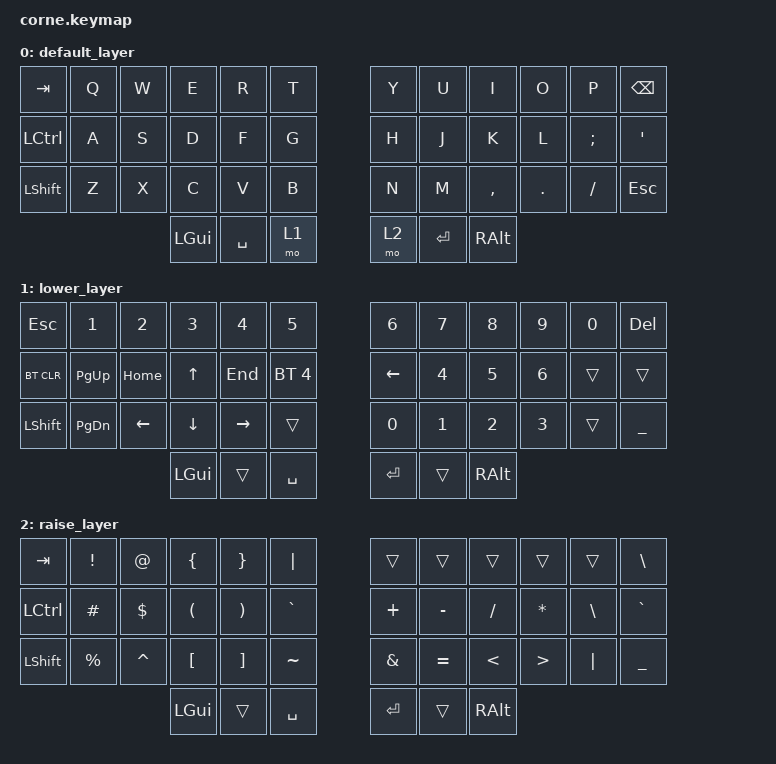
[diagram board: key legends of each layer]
/*
 * Copyright (c) 2020 The ZMK Contributors
 *
 * SPDX-License-Identifier: MIT
 */

#include <behaviors.dtsi>
#include <dt-bindings/zmk/keys.h>
#include <dt-bindings/zmk/bt.h>

/ {
        keymap {
                compatible = "zmk,keymap";

                default_layer {
// -----------------------------------------------------------------------------------------
// |  TAB |  Q  |  W  |  E  |  R  |  T  |   |  Y  |  U   |  I  |  O  |  P  | BKSP |
// | CTRL |  A  |  S  |  D  |  F  |  G  |   |  H  |  J   |  K  |  L  |  ;  |  '   |
// | SHFT |  Z  |  X  |  C  |  V  |  B  |   |  N  |  M   |  ,  |  .  |  /  | ESC  |
//                    | GUI | SPC | LWR |   | RSE | ENT  | ALT |
                        bindings = <
   &kp TAB   &kp Q &kp W &kp E &kp R &kp T   &kp Y &kp U  &kp I     &kp O   &kp P    &kp BSPC
   &kp LCTRL &kp A &kp S &kp D &kp F &kp G   &kp H &kp J  &kp K     &kp L   &kp SEMI &kp SQT
   &kp LSHFT &kp Z &kp X &kp C &kp V &kp B   &kp N &kp M  &kp COMMA &kp DOT &kp FSLH &kp ESC
                  &kp LGUI &kp SPACE &mo 1   &mo 2 &kp RET  &kp RALT
                        >;
                };
                lower_layer {
// -----------------------------------------------------------------------------------------
// |  ESC |  1  |  2  |  3  |  4  |  5  |   |  6  |  7  |  8  |  9  |  0  | DEL  |
// | BTCLR| PGD | HOM |  UP | END | BT5 |   | LFT |  4  |  5  |  6  |     |      |
// | SHFT | PGU | LFT | DWN | RGT |     |   |  0  |  1  |  2  |  3  |     |  _   |
//                    | GUI |     | SPC |   | ENT |     | ALT |
                        bindings = <
   &kp ESC    &kp N1       &kp N2       &kp N3       &kp N4       &kp N5         &kp N6   &kp N7   &kp N8 &kp N9    &kp N0 &kp DEL
   &bt BT_CLR &kp PG_UP    &kp HOME     &kp UP       &kp END      &bt BT_SEL 4   &kp LEFT &kp N4   &kp N5 &kp N6 &trans &trans
   &kp LSHFT  &kp PG_DN    &kp LEFT     &kp DOWN     &kp RIGHT    &trans         &kp N0   &kp N1   &kp N2 &kp N3    &trans &kp UNDER
                          	        &kp LGUI     &trans       &kp SPACE      &kp RET  &trans   &kp RALT
                        >;
                };

                raise_layer {
// -----------------------------------------------------------------------------------------
// |  TAB |  !  |  @  |  {  |  }  |  |  |   |     |     |     |     |     |  \   |
// | CTRL |  #  |  $  |  (  |  )  |  `  |   |  +  |  -  |  /  |  *  |  \  |  `   |
// | SHFT |  %  |  ^  |  [  |  ]  |  ~  |   |  &  |  =  |  <  |  >  | "|" |  _   |
//                    | GUI |     | SPC |   | ENT |     | ALT |
                        bindings = <
   &kp  TAB  &kp EXCL   &kp AT    &kp LBRC &kp RBRC &kp PIPE    &trans    &trans    &trans    &trans   &trans   &kp BSLH
   &kp LCTRL &kp HASH   &kp DLLR  &kp LPAR &kp RPAR &kp GRAVE   &kp PLUS  &kp MINUS &kp FSLH  &kp STAR &kp BSLH &kp GRAVE
   &kp LSHFT &kp PRCNT  &kp CARET &kp LBKT &kp RBKT &kp TILDE   &kp AMPS  &kp EQUAL &kp LT    &kp GT   &kp PIPE &kp UNDER
                    	        &kp LGUI &trans   &kp SPACE   &kp RET   &trans    &kp RALT
                        >;
                };
        };
};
